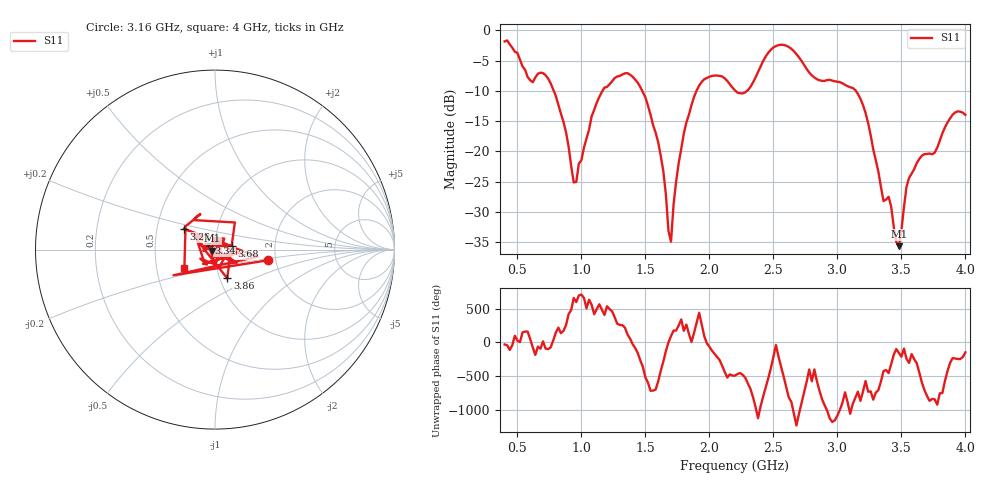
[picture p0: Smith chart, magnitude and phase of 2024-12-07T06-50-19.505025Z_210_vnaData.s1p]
!Created with skrf (http://scikit-rf.org).
# Hz S RI R 50.0
!freq ReS11 ImS11
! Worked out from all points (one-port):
!   181 points, 400 MHz to 4 GHz, reference 50 ohm
!   lowest |S11| = -35.7 dB at 3.48 GHz (marker M1), VSWR 1.03, Z = 48.5 - j0.632 ohm
!   |S11| at or under -10 dB: 784.2 MHz to 1.164 GHz (380 MHz wide, 39 % of centre); 1.476 GHz to 1.899 GHz (423.1 MHz wide, 25.1 % of centre); 3.145 GHz to end of sweep (the widest 3 of 4)
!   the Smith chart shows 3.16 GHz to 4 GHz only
!   S11 on the Smith chart (normalised r, x): 3.16 GHz: 1.81, -0.24; 3.22 GHz: 0.69, +0.17; 3.34 GHz: 0.93, +0.06; 3.68 GHz: 1.20, +0.05; 3.86 GHz: 1.08, -0.36; 4 GHz: 0.69, -0.15
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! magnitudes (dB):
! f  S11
! 400 MHz  -1.8
! 600 MHz  -8.2
! 740 MHz  -7.9
! 860 MHz  -15.1
! 960 MHz  -25.0
! 1.12 GHz  -11.9
! 1.3 GHz  -7.5
! 1.5 GHz  -11.0
! 1.62 GHz  -20.7
! 1.7 GHz  -34.9
! 1.76 GHz  -21.9
! 1.82 GHz  -15.2
! 1.94 GHz  -8.5
! 2.2 GHz  -9.9
! 2.3 GHz  -9.9
! 2.5 GHz  -2.8
! 2.66 GHz  -3.4
! 2.84 GHz  -8.1
! 3.1 GHz  -9.4
! 3.16 GHz  -10.5
! 3.22 GHz  -13.6
! 3.34 GHz  -25.9
! 3.4 GHz  -27.5
! 3.48 GHz  -35.7
! 3.56 GHz  -24.4
! 3.68 GHz  -20.4
! 3.86 GHz  -15.2
! 4 GHz  -14.0
